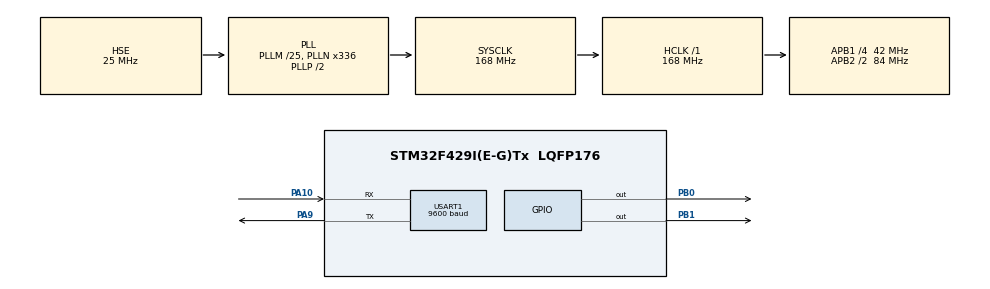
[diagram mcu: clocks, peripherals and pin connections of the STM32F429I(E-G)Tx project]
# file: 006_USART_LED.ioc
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Mcu.Family=STM32F4
Mcu.Name=STM32F429I(E-G)Tx
Mcu.Package=LQFP176
NVIC.PriorityGroup=NVIC_PRIORITYGROUP_4
NVIC.USART1_IRQn=true\:1\:0\:true\:false\:true\:true\:true
PA10.Mode=Asynchronous
PA10.Signal=USART1_RX
PA13.Mode=Serial_Wire
PA13.Signal=SYS_JTMS-SWDIO
PA14.Mode=Serial_Wire
PA14.Signal=SYS_JTCK-SWCLK
PA9.Mode=Asynchronous
PA9.Signal=USART1_TX
PB0.Signal=GPIO_Output
PB1.Signal=GPIO_Output
PH0/OSC_IN.Mode=HSE-External-Oscillator
PH0/OSC_IN.Signal=RCC_OSC_IN
PH1/OSC_OUT.Mode=HSE-External-Oscillator
PH1/OSC_OUT.Signal=RCC_OSC_OUT
ProjectManager.HeapSize=0x200
ProjectManager.StackSize=0x400
ProjectManager.TargetToolchain=MDK-ARM V5
RCC.48MHZClocksFreq_Value=84000000
RCC.AHBFreq_Value=168000000
RCC.APB1CLKDivider=RCC_HCLK_DIV4
RCC.APB1Freq_Value=42000000
RCC.APB1TimFreq_Value=84000000
RCC.APB2CLKDivider=RCC_HCLK_DIV2
RCC.APB2Freq_Value=84000000
RCC.APB2TimFreq_Value=168000000
RCC.CortexFreq_Value=168000000
RCC.HCLKFreq_Value=168000000
RCC.HSE_VALUE=25000000
RCC.HSI_VALUE=16000000
RCC.LSE_VALUE=32768
RCC.PLLM=25
RCC.PLLN=336
RCC.PLLSourceVirtual=RCC_PLLSOURCE_HSE
RCC.SYSCLKFreq_VALUE=168000000
RCC.SYSCLKSource=RCC_SYSCLKSOURCE_PLLCLK
RCC.VCOOutputFreq_Value=336000000
USART1.BaudRate=9600
USART1.VirtualMode=VM_ASYNC
board=custom

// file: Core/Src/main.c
/* USER CODE BEGIN Header */
/**
  ******************************************************************************
  * @file           : main.c
  * @brief          : Main program body
  ******************************************************************************
  * @attention
  *
  * <h2><center>&copy; Copyright (c) 2023 STMicroelectronics.
  * All rights reserved.</center></h2>
  *
  * This software component is licensed by ST under BSD 3-Clause license,
  * the "License"; You may not use this file except in compliance with the
  * License. You may obtain a copy of the License at:
  *                        opensource.org/licenses/BSD-3-Clause
  *
  ******************************************************************************
  */
/* USER CODE END Header */
#include "main.h"
#include "usart.h"
#include "gpio.h"

void SystemClock_Config(void);

/* USER CODE BEGIN 0 */
#define LED0_ON() HAL_GPIO_WritePin(GPIOB, GPIO_PIN_1, GPIO_PIN_RESET);
#define LED0_OFF() HAL_GPIO_WritePin(GPIOB, GPIO_PIN_1, GPIO_PIN_SET);
#define LED1_ON() HAL_GPIO_WritePin(GPIOB, GPIO_PIN_0, GPIO_PIN_RESET);
#define LED1_OFF() HAL_GPIO_WritePin(GPIOB, GPIO_PIN_0, GPIO_PIN_SET);

uint8_t Tx_str1[] = "Hello World!\r\n"; // \r：回车，\n：换�?
uint8_t Tx_str2[] = "LED1 Opened!\r\n";
uint8_t Tx_str3[] = "LED1 Closed!\r\n";

uint8_t Rx_dat = 0;
void HAL_UART_RxCpltCallback(UART_HandleTypeDef *huart)
{
	if(huart->Instance == USART1)
	{
		if(Rx_dat == 0xa1)
		{
			LED0_ON();

      /* LED1 作为指示灯，先设置高电平灭掉，然后发送数据，再点�? */
			LED1_OFF();
			HAL_Delay(200);
			HAL_UART_Transmit(&huart1, Tx_str2, sizeof(Tx_str2), 10000);
			HAL_Delay(200);
			LED1_ON();

			HAL_UART_Receive_IT(&huart1, &Rx_dat, 1);
		}
		else if(Rx_dat == 0xa2)
		{
			LED0_OFF();

      /* LED1 作为指示灯，先设置高电平灭掉，然后发送数据，再点�? */
			LED1_OFF();
			HAL_Delay(200);
			HAL_UART_Transmit(&huart1, Tx_str3, sizeof(Tx_str3), 10000);
			HAL_Delay(200);
			LED1_ON();

			HAL_UART_Receive_IT(&huart1, &Rx_dat, 1);
		}
	}
}
/* USER CODE END 0 */

int main(void)
{

  /* MCU Configuration--------------------------------------------------------*/

  /* Reset of all peripherals, Initializes the Flash interface and the Systick. */
  HAL_Init();

  /* Configure the system clock */
  SystemClock_Config();

  /* Initialize all configured peripherals */
  MX_GPIO_Init();
  MX_USART1_UART_Init();
  /* USER CODE BEGIN 2 */
	LED1_OFF();
	HAL_Delay(200); //加入延时函数，以便肉眼观察得�?
	HAL_UART_Transmit(&huart1, Tx_str1, sizeof(Tx_str1), 10000);
	HAL_Delay(200); //加入延时函数，以便肉眼观察得�?
	LED1_ON();

	HAL_UART_Receive_IT(&huart1, &Rx_dat, 1);
  /* USER CODE END 2 */

  /* Infinite loop */
  while (1)
  {

  }
}

void SystemClock_Config(void)
{
  RCC_OscInitTypeDef RCC_OscInitStruct = {0};
  RCC_ClkInitTypeDef RCC_ClkInitStruct = {0};

  /** Configure the main internal regulator output voltage
  */
  __HAL_RCC_PWR_CLK_ENABLE();
  __HAL_PWR_VOLTAGESCALING_CONFIG(PWR_REGULATOR_VOLTAGE_SCALE1);
  /** Initializes the RCC Oscillators according to the specified parameters
  * in the RCC_OscInitTypeDef structure.
  */
  RCC_OscInitStruct.OscillatorType = RCC_OSCILLATORTYPE_HSE;
  RCC_OscInitStruct.HSEState = RCC_HSE_ON;
  RCC_OscInitStruct.PLL.PLLState = RCC_PLL_ON;
  RCC_OscInitStruct.PLL.PLLSource = RCC_PLLSOURCE_HSE;
  RCC_OscInitStruct.PLL.PLLM = 25;
  RCC_OscInitStruct.PLL.PLLN = 336;
  RCC_OscInitStruct.PLL.PLLP = RCC_PLLP_DIV2;
  RCC_OscInitStruct.PLL.PLLQ = 4;
  if (HAL_RCC_OscConfig(&RCC_OscInitStruct) != HAL_OK)
  {
    Error_Handler();
  }
  /** Initializes the CPU, AHB and APB buses clocks
  */
  RCC_ClkInitStruct.ClockType = RCC_CLOCKTYPE_HCLK|RCC_CLOCKTYPE_SYSCLK
                              |RCC_CLOCKTYPE_PCLK1|RCC_CLOCKTYPE_PCLK2;
  RCC_ClkInitStruct.SYSCLKSource = RCC_SYSCLKSOURCE_PLLCLK;
  RCC_ClkInitStruct.AHBCLKDivider = RCC_SYSCLK_DIV1;
  RCC_ClkInitStruct.APB1CLKDivider = RCC_HCLK_DIV4;
  RCC_ClkInitStruct.APB2CLKDivider = RCC_HCLK_DIV2;

  if (HAL_RCC_ClockConfig(&RCC_ClkInitStruct, FLASH_LATENCY_5) != HAL_OK)
  {
    Error_Handler();
  }
}

void Error_Handler(void)
{
  __disable_irq();
  while (1)
  {
  }
}

/************************ (C) COPYRIGHT STMicroelectronics *****END OF FILE****/
